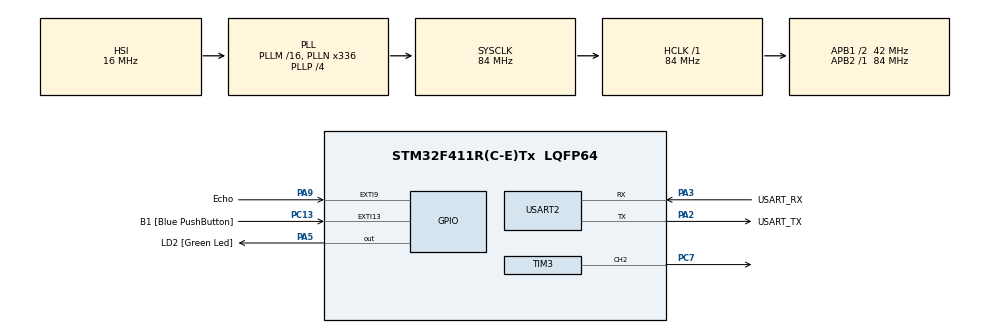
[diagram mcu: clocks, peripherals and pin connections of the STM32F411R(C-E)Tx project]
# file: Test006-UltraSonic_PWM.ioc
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Mcu.Family=STM32F4
Mcu.Name=STM32F411R(C-E)Tx
Mcu.Package=LQFP64
NVIC.EXTI9_5_IRQn=true\:0\:0\:false\:false\:true\:true\:true\:true
NVIC.PriorityGroup=NVIC_PRIORITYGROUP_0
PA13.GPIO_Label=TMS
PA13.Mode=Serial_Wire
PA13.Signal=SYS_JTMS-SWDIO
PA14.GPIO_Label=TCK
PA14.Mode=Serial_Wire
PA14.Signal=SYS_JTCK-SWCLK
PA2.GPIO_Label=USART_TX
PA2.Mode=Asynchronous
PA2.Signal=USART2_TX
PA3.GPIO_Label=USART_RX
PA3.Mode=Asynchronous
PA3.Signal=USART2_RX
PA5.GPIO_Label=LD2 [Green Led]
PA5.Signal=GPIO_Output
PA9.GPIO_Label=Echo
PA9.GPIO_ModeDefaultEXTI=GPIO_MODE_IT_RISING_FALLING
PA9.Signal=GPXTI9
PB3.GPIO_Label=SWO
PB3.Signal=SYS_JTDO-SWO
PC13-ANTI_TAMP.GPIO_Label=B1 [Blue PushButton]
PC13-ANTI_TAMP.GPIO_ModeDefaultEXTI=GPIO_MODE_IT_FALLING
PC13-ANTI_TAMP.Signal=GPXTI13
PC14-OSC32_IN.Mode=LSE-External-Oscillator
PC14-OSC32_IN.Signal=RCC_OSC32_IN
PC15-OSC32_OUT.Mode=LSE-External-Oscillator
PC15-OSC32_OUT.Signal=RCC_OSC32_OUT
PC7.Signal=S_TIM3_CH2
PH0\ -\ OSC_IN.Mode=HSE-External-Clock-Source
PH0\ -\ OSC_IN.Signal=RCC_OSC_IN
PH1\ -\ OSC_OUT.Mode=HSE-External-Clock-Source
PH1\ -\ OSC_OUT.Signal=RCC_OSC_OUT
ProjectManager.HeapSize=0x200
ProjectManager.StackSize=0x400
ProjectManager.TargetToolchain=STM32CubeIDE
RCC.48MHZClocksFreq_Value=84000000
RCC.AHBFreq_Value=84000000
RCC.APB1CLKDivider=RCC_HCLK_DIV2
RCC.APB1Freq_Value=42000000
RCC.APB1TimFreq_Value=84000000
RCC.APB2Freq_Value=84000000
RCC.APB2TimFreq_Value=84000000
RCC.CortexFreq_Value=84000000
RCC.FLatency-AdvancedSettings=FLASH_LATENCY_2
RCC.HCLKFreq_Value=84000000
RCC.HSE_VALUE=8000000
RCC.HSI_VALUE=16000000
RCC.PLLN=336
RCC.PLLP=RCC_PLLP_DIV4
RCC.SYSCLKFreq_VALUE=84000000
RCC.SYSCLKSource=RCC_SYSCLKSOURCE_PLLCLK
RCC.VCOOutputFreq_Value=336000000
SH.S_TIM3_CH2.0=TIM3_CH2,PWM Generation2 CH2
TIM2.Prescaler=84 - 1
TIM3.Channel-PWM\ Generation2\ CH2=TIM_CHANNEL_2
TIM3.Period=60000 - 1
TIM3.Prescaler=84 - 1
TIM3.Pulse-PWM\ Generation2\ CH2=10
USART2.VirtualMode=VM_ASYNC
VP_TIM2_VS_ClockSourceINT.Mode=Internal
VP_TIM3_VS_ClockSourceINT.Mode=Internal
board=NUCLEO-F411RE

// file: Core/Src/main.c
/* USER CODE BEGIN Header */
/**
  ******************************************************************************
  * @file           : main.c
  * @brief          : Main program body
  ******************************************************************************
  * @attention
  *
  * Copyright (c) 2025 STMicroelectronics.
  * All rights reserved.
  *
  * This software is licensed under terms that can be found in the LICENSE file
  * in the root directory of this software component.
  * If no LICENSE file comes with this software, it is provided AS-IS.
  *
  ******************************************************************************
  */
/* USER CODE END Header */
#include "main.h"

/* USER CODE BEGIN Includes */
#include <stdio.h>
// #include "C:\Users\user\source\repos\STM32\myLib\UltraSonic.h" // Function Call

// #include "UltraSonic.h"
/* USER CODE END Includes */

TIM_HandleTypeDef htim2;
TIM_HandleTypeDef htim3;

UART_HandleTypeDef huart2;

void SystemClock_Config(void);
static void MX_GPIO_Init(void);
static void MX_USART2_UART_Init(void);
static void MX_TIM2_Init(void);
static void MX_TIM3_Init(void);

/* USER CODE BEGIN 0 */
volatile double dist; //
volatile int Time_REF, Time_RT; //

// *** External Interrupt ISR  *** //
void HAL_GPIO_EXTI_Callback(uint16_t GPIO_Pin)
{
	// Assume that there is "Echo" GPIO EXTI Pin

	if ( GPIO_Pin == Echo_Pin )
	{
		// Rising Edge ('0' -> '1')
		if ( HAL_GPIO_ReadPin(Echo_GPIO_Port, Echo_Pin) == 1 )
			// Time_REF = htim2.Instance->CNT;
			htim2.Instance->CNT = 0;

		// Falling Edge ('1' -> '0')
		else // ( HAL_GPIO_ReadPin(Echo_GPIO_Port, Echo_Pin) == 0 )
		{
			Time_RT = htim2.Instance->CNT; // Round-trip Time
			// dist = (Time_RT - Time_REF) * 0.17; // mm Scale
			dist = Time_RT * 0.17;
		}
	}
}

/* USER CODE END 0 */

int main(void)
{

  /* MCU Configuration--------------------------------------------------------*/

  /* Reset of all peripherals, Initializes the Flash interface and the Systick. */
  HAL_Init();

  /* Configure the system clock */
  SystemClock_Config();

  /* Initialize all configured peripherals */
  MX_GPIO_Init();
  MX_USART2_UART_Init();
  MX_TIM2_Init();
  MX_TIM3_Init();
  /* USER CODE BEGIN 2 */
  ProgramStart("Ultra-Sonic Sensor (SRF05) - PWM(Trig) & Interrupt(Echo)");
  TIM_init(&htim2); // which Timer will be used?
  HAL_TIM_Base_Start(&htim2); // Start Timer2 for Echo Interrupt
  HAL_TIM_PWM_Start(&htim3, TIM_CHANNEL_2); // Start Timer3 for Trig PWM Signal
  // HAL_StatusTypeDef HAL_TIM_PWM_Start(TIM_HandleTypeDef *htim, uint32_t Channel);

  /* USER CODE END 2 */

  /* Infinite loop */
  /* USER CODE BEGIN WHILE */
  while (1)
  {
	  // Trigger(); // Trigger Pulse Generation
	  // htim3.Instance->CCR2 =15;
	  printf( "Distance : %f \r\n", dist);
	  HAL_Delay(500); // Meas. Interval 500 ms

    /* USER CODE END WHILE */

  }
}

void SystemClock_Config(void)
{
  RCC_OscInitTypeDef RCC_OscInitStruct = {0};
  RCC_ClkInitTypeDef RCC_ClkInitStruct = {0};

  /** Configure the main internal regulator output voltage
  */
  __HAL_RCC_PWR_CLK_ENABLE();
  __HAL_PWR_VOLTAGESCALING_CONFIG(PWR_REGULATOR_VOLTAGE_SCALE1);

  /** Initializes the RCC Oscillators according to the specified parameters
  * in the RCC_OscInitTypeDef structure.
  */
  RCC_OscInitStruct.OscillatorType = RCC_OSCILLATORTYPE_HSI;
  RCC_OscInitStruct.HSIState = RCC_HSI_ON;
  RCC_OscInitStruct.HSICalibrationValue = RCC_HSICALIBRATION_DEFAULT;
  RCC_OscInitStruct.PLL.PLLState = RCC_PLL_ON;
  RCC_OscInitStruct.PLL.PLLSource = RCC_PLLSOURCE_HSI;
  RCC_OscInitStruct.PLL.PLLM = 16;
  RCC_OscInitStruct.PLL.PLLN = 336;
  RCC_OscInitStruct.PLL.PLLP = RCC_PLLP_DIV4;
  RCC_OscInitStruct.PLL.PLLQ = 4;
  if (HAL_RCC_OscConfig(&RCC_OscInitStruct) != HAL_OK)
  {
    Error_Handler();
  }

  /** Initializes the CPU, AHB and APB buses clocks
  */
  RCC_ClkInitStruct.ClockType = RCC_CLOCKTYPE_HCLK|RCC_CLOCKTYPE_SYSCLK
                              |RCC_CLOCKTYPE_PCLK1|RCC_CLOCKTYPE_PCLK2;
  RCC_ClkInitStruct.SYSCLKSource = RCC_SYSCLKSOURCE_PLLCLK;
  RCC_ClkInitStruct.AHBCLKDivider = RCC_SYSCLK_DIV1;
  RCC_ClkInitStruct.APB1CLKDivider = RCC_HCLK_DIV2;
  RCC_ClkInitStruct.APB2CLKDivider = RCC_HCLK_DIV1;

  if (HAL_RCC_ClockConfig(&RCC_ClkInitStruct, FLASH_LATENCY_2) != HAL_OK)
  {
    Error_Handler();
  }
}

static void MX_TIM2_Init(void)
{

  TIM_ClockConfigTypeDef sClockSourceConfig = {0};
  TIM_MasterConfigTypeDef sMasterConfig = {0};

  htim2.Instance = TIM2;
  htim2.Init.Prescaler = 84 - 1;
  htim2.Init.CounterMode = TIM_COUNTERMODE_UP;
  htim2.Init.Period = 4294967295;
  htim2.Init.ClockDivision = TIM_CLOCKDIVISION_DIV1;
  htim2.Init.AutoReloadPreload = TIM_AUTORELOAD_PRELOAD_DISABLE;
  if (HAL_TIM_Base_Init(&htim2) != HAL_OK)
  {
    Error_Handler();
  }
  sClockSourceConfig.ClockSource = TIM_CLOCKSOURCE_INTERNAL;
  if (HAL_TIM_ConfigClockSource(&htim2, &sClockSourceConfig) != HAL_OK)
  {
    Error_Handler();
  }
  sMasterConfig.MasterOutputTrigger = TIM_TRGO_RESET;
  sMasterConfig.MasterSlaveMode = TIM_MASTERSLAVEMODE_DISABLE;
  if (HAL_TIMEx_MasterConfigSynchronization(&htim2, &sMasterConfig) != HAL_OK)
  {
    Error_Handler();
  }

}

static void MX_TIM3_Init(void)
{

  TIM_ClockConfigTypeDef sClockSourceConfig = {0};
  TIM_MasterConfigTypeDef sMasterConfig = {0};
  TIM_OC_InitTypeDef sConfigOC = {0};

  htim3.Instance = TIM3;
  htim3.Init.Prescaler = 84 - 1;
  htim3.Init.CounterMode = TIM_COUNTERMODE_UP;
  htim3.Init.Period = 60000 - 1;
  htim3.Init.ClockDivision = TIM_CLOCKDIVISION_DIV1;
  htim3.Init.AutoReloadPreload = TIM_AUTORELOAD_PRELOAD_DISABLE;
  if (HAL_TIM_Base_Init(&htim3) != HAL_OK)
  {
    Error_Handler();
  }
  sClockSourceConfig.ClockSource = TIM_CLOCKSOURCE_INTERNAL;
  if (HAL_TIM_ConfigClockSource(&htim3, &sClockSourceConfig) != HAL_OK)
  {
    Error_Handler();
  }
  if (HAL_TIM_PWM_Init(&htim3) != HAL_OK)
  {
    Error_Handler();
  }
  sMasterConfig.MasterOutputTrigger = TIM_TRGO_RESET;
  sMasterConfig.MasterSlaveMode = TIM_MASTERSLAVEMODE_DISABLE;
  if (HAL_TIMEx_MasterConfigSynchronization(&htim3, &sMasterConfig) != HAL_OK)
  {
    Error_Handler();
  }
  sConfigOC.OCMode = TIM_OCMODE_PWM1;
  sConfigOC.Pulse = 10;
  sConfigOC.OCPolarity = TIM_OCPOLARITY_HIGH;
  sConfigOC.OCFastMode = TIM_OCFAST_DISABLE;
  if (HAL_TIM_PWM_ConfigChannel(&htim3, &sConfigOC, TIM_CHANNEL_2) != HAL_OK)
  {
    Error_Handler();
  }
  HAL_TIM_MspPostInit(&htim3);

}

static void MX_USART2_UART_Init(void)
{

  huart2.Instance = USART2;
  huart2.Init.BaudRate = 115200;
  huart2.Init.WordLength = UART_WORDLENGTH_8B;
  huart2.Init.StopBits = UART_STOPBITS_1;
  huart2.Init.Parity = UART_PARITY_NONE;
  huart2.Init.Mode = UART_MODE_TX_RX;
  huart2.Init.HwFlowCtl = UART_HWCONTROL_NONE;
  huart2.Init.OverSampling = UART_OVERSAMPLING_16;
  if (HAL_UART_Init(&huart2) != HAL_OK)
  {
    Error_Handler();
  }

}

static void MX_GPIO_Init(void)
{
  GPIO_InitTypeDef GPIO_InitStruct = {0};

  /* GPIO Ports Clock Enable */
  __HAL_RCC_GPIOC_CLK_ENABLE();
  __HAL_RCC_GPIOH_CLK_ENABLE();
  __HAL_RCC_GPIOA_CLK_ENABLE();
  __HAL_RCC_GPIOB_CLK_ENABLE();

  /*Configure GPIO pin Output Level */
  HAL_GPIO_WritePin(LD2_GPIO_Port, LD2_Pin, GPIO_PIN_RESET);

  /*Configure GPIO pin : B1_Pin */
  GPIO_InitStruct.Pin = B1_Pin;
  GPIO_InitStruct.Mode = GPIO_MODE_IT_FALLING;
  GPIO_InitStruct.Pull = GPIO_NOPULL;
  HAL_GPIO_Init(B1_GPIO_Port, &GPIO_InitStruct);

  /*Configure GPIO pin : LD2_Pin */
  GPIO_InitStruct.Pin = LD2_Pin;
  GPIO_InitStruct.Mode = GPIO_MODE_OUTPUT_PP;
  GPIO_InitStruct.Pull = GPIO_NOPULL;
  GPIO_InitStruct.Speed = GPIO_SPEED_FREQ_LOW;
  HAL_GPIO_Init(LD2_GPIO_Port, &GPIO_InitStruct);

  /*Configure GPIO pin : Echo_Pin */
  GPIO_InitStruct.Pin = Echo_Pin;
  GPIO_InitStruct.Mode = GPIO_MODE_IT_RISING_FALLING;
  GPIO_InitStruct.Pull = GPIO_NOPULL;
  HAL_GPIO_Init(Echo_GPIO_Port, &GPIO_InitStruct);

  /* EXTI interrupt init*/
  HAL_NVIC_SetPriority(EXTI9_5_IRQn, 0, 0);
  HAL_NVIC_EnableIRQ(EXTI9_5_IRQn);

}

void Error_Handler(void)
{
  __disable_irq();
  while (1)
  {
  }
}
